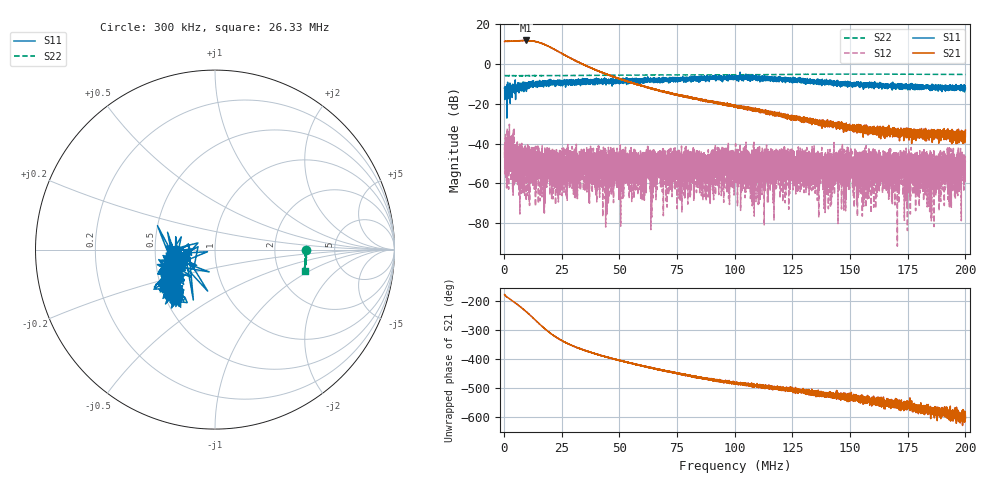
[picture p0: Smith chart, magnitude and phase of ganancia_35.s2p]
# Hz S DB R 50
! CMT, M5065, 19127446, 24.2.4/2
! Date: 11/8/2024 5:13:39 PM
! Data: Format (Calibration Info)
! Freq	S11:dB/Ang(F2)	S21:dB/Ang(F2)	S12:dB/Ang(F2)	S22:dB/Ang(F2)
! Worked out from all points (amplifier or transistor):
!   9000 points, 300 kHz to 200 MHz, reference 50 ohm
!   highest |S21| = 11.8 dB at 9.643 MHz (marker M1)
!   |S21| within 3 dB of that: start of sweep to 19.4 MHz
!   unconditionally stable (mu >= 1): start of sweep to end of sweep
!   at 33.59 MHz: K = 43.11, MAG = 2.2 dB, |S12| = -42.9 dB
!   at 100.2 MHz: K = 1109.53, MAG = -18.4 dB, |S12| = -51.1 dB
!   at 200 MHz: K = 4356.90, MAG = -31.4 dB, |S12| = -49.2 dB
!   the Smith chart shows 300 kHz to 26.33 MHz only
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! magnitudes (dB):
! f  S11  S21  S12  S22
! 300 kHz  -12.2  11.3  -47.2  -5.9
! 3.163 MHz  -14.0  11.4  -44.5  -5.9
! 6.691 MHz  -10.6  11.6  -54.2  -5.9
! 9.643 MHz  -10.4  11.8  -42.3  -5.9
! 16.66 MHz  -8.7  10.2  -51.8  -5.9
! 18.83 MHz  -9.4  9.1  -48.2  -5.8
! 23.71 MHz  -8.8  6.2  -52.6  -5.8
! 33.59 MHz  -8.3  0.2  -42.9  -5.8
! 47.75 MHz  -9.4  -6.5  -52.2  -5.7
! 60.02 MHz  -7.5  -10.8  -44.9  -5.6
! 62.48 MHz  -8.0  -11.8  -44.8  -5.6
! 64.52 MHz  -8.0  -12.5  -51.1  -5.5
! 66.87 MHz  -7.9  -13.1  -50.3  -5.5
! 69.96 MHz  -7.9  -14.3  -53.9  -5.5
! 100.2 MHz  -6.7  -20.9  -51.1  -5.4
! 133.4 MHz  -8.0  -28.3  -50.5  -5.2
! 141.5 MHz  -8.8  -30.9  -71.4  -5.1
! 149.8 MHz  -9.3  -31.8  -49.9  -5.1
! 155 MHz  -10.2  -31.7  -48.2  -5.1
! 166.7 MHz  -10.9  -31.4  -45.3  -5.1
! 196.3 MHz  -11.8  -38.4  -53.9  -5.3
! 200 MHz  -12.1  -33.2  -49.2  -5.3
